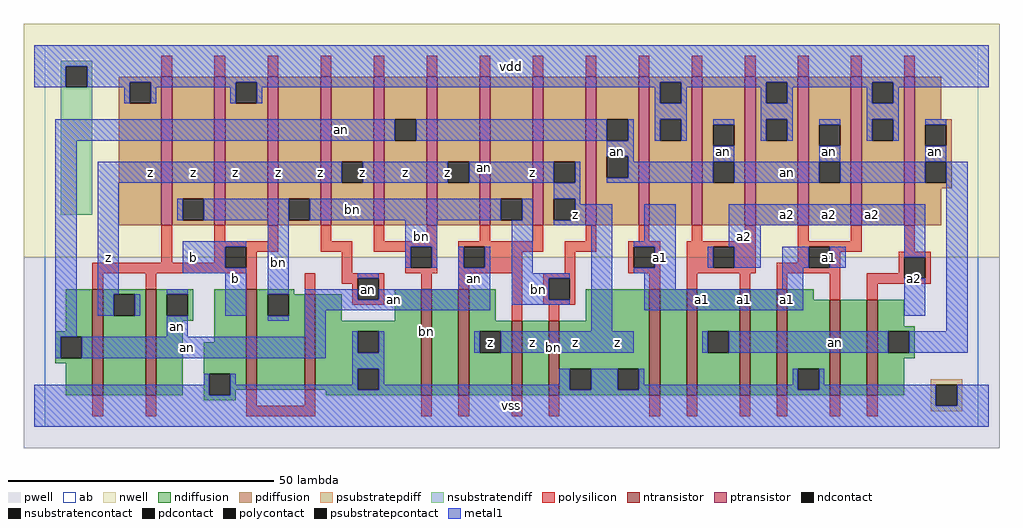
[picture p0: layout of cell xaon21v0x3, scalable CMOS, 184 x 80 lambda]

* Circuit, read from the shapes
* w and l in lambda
.subckt xaon21v0x3 a1 a2 an b bn vdd vss z
M1 z b an vss nfet w=20 l=2 m=2
M2 bn b vss vss nfet w=19 l=2
M3 vss b bn vss nfet w=18 l=2
M4 n1 bn vss vss nfet w=20 l=2
M5 z an n1 vss nfet w=20 l=2
M6 n2 an z vss nfet w=14 l=2
M7 vss bn n2 vss nfet w=14 l=2
M8 n3 a1 vss vss nfet w=20 l=2
M9 an a2 n3 vss nfet w=20 l=2
M10 n4 a2 an vss nfet w=20 l=2
M11 vss a1 n4 vss nfet w=20 l=2
M12 n5 a1 vss vss nfet w=18 l=2
M13 an a2 n5 vss nfet w=18 l=2
M14 bn b vdd vdd pfet w=28 l=2 m=3
M15 z an bn vdd pfet w=28 l=2 m=3
M16 an bn z vdd pfet w=28 l=2 m=3
M17 vdd a1 an vdd pfet w=28 l=2 m=3
M18 an a2 vdd vdd pfet w=28 l=2 m=3
.ends

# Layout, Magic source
magic
tech scmos
<< ab >>
rect 0 0 176 72
<< pwell >>
rect -4 -4 180 32
<< nwell >>
rect -4 32 180 76
<< polysilicon >>
rect 22 66 24 70
rect 32 66 34 70
rect 42 66 44 70
rect 52 66 54 70
rect 62 66 64 70
rect 72 66 74 70
rect 82 66 84 70
rect 92 66 94 70
rect 102 66 104 70
rect 112 66 114 70
rect 122 66 124 70
rect 132 66 134 70
rect 142 66 144 70
rect 152 66 154 70
rect 162 66 164 70
rect 22 31 24 38
rect 32 35 34 38
rect 42 35 44 38
rect 32 34 44 35
rect 32 31 34 34
rect 9 30 34 31
rect 38 33 44 34
rect 52 35 54 38
rect 62 35 64 38
rect 72 35 74 38
rect 82 35 84 38
rect 92 35 94 38
rect 102 35 104 38
rect 112 35 114 38
rect 122 35 124 38
rect 132 35 134 38
rect 52 33 58 35
rect 62 34 74 35
rect 62 33 69 34
rect 38 30 40 33
rect 9 29 40 30
rect 56 29 58 33
rect 68 30 69 33
rect 73 30 74 34
rect 68 29 74 30
rect 78 34 94 35
rect 78 30 79 34
rect 83 33 94 34
rect 98 33 104 35
rect 110 34 116 35
rect 83 30 90 33
rect 78 29 90 30
rect 98 29 100 33
rect 110 30 111 34
rect 115 30 116 34
rect 110 29 116 30
rect 9 26 11 29
rect 19 26 21 29
rect 38 26 40 29
rect 49 25 51 29
rect 56 28 64 29
rect 56 27 59 28
rect 58 24 59 27
rect 63 24 64 28
rect 71 26 73 29
rect 78 26 80 29
rect 58 23 64 24
rect 9 2 11 6
rect 19 2 21 6
rect 38 4 40 7
rect 49 4 51 7
rect 88 20 90 29
rect 94 28 100 29
rect 94 24 95 28
rect 99 24 100 28
rect 114 26 116 29
rect 121 34 134 35
rect 121 30 126 34
rect 130 30 134 34
rect 142 35 144 38
rect 152 35 154 38
rect 142 34 154 35
rect 142 31 144 34
rect 121 29 134 30
rect 138 30 144 31
rect 148 33 154 34
rect 162 33 164 38
rect 148 30 150 33
rect 138 29 150 30
rect 161 32 167 33
rect 161 29 162 32
rect 121 26 123 29
rect 131 26 133 29
rect 138 26 140 29
rect 94 23 100 24
rect 95 20 97 23
rect 148 24 150 29
rect 155 28 162 29
rect 166 28 167 32
rect 155 27 167 28
rect 155 24 157 27
rect 38 2 51 4
rect 71 2 73 6
rect 78 2 80 6
rect 88 2 90 6
rect 95 2 97 6
rect 114 2 116 6
rect 121 2 123 6
rect 131 2 133 6
rect 138 2 140 6
rect 148 2 150 6
rect 155 2 157 6
<< ndiffusion >>
rect 4 18 9 26
rect 2 17 9 18
rect 2 13 3 17
rect 7 13 9 17
rect 2 12 9 13
rect 4 6 9 12
rect 11 25 19 26
rect 11 21 13 25
rect 17 21 19 25
rect 11 6 19 21
rect 21 25 28 26
rect 21 21 23 25
rect 27 21 28 25
rect 21 20 28 21
rect 21 6 26 20
rect 32 16 38 26
rect 30 10 38 16
rect 30 6 31 10
rect 35 7 38 10
rect 40 25 47 26
rect 40 21 42 25
rect 46 21 49 25
rect 40 7 49 21
rect 51 20 56 25
rect 66 20 71 26
rect 51 18 71 20
rect 51 14 59 18
rect 63 14 71 18
rect 51 11 71 14
rect 51 7 59 11
rect 63 7 71 11
rect 35 6 36 7
rect 30 5 36 6
rect 53 6 71 7
rect 73 6 78 26
rect 80 20 85 26
rect 102 20 114 26
rect 80 18 88 20
rect 80 14 82 18
rect 86 14 88 18
rect 80 6 88 14
rect 90 6 95 20
rect 97 11 114 20
rect 97 7 99 11
rect 103 7 108 11
rect 112 7 114 11
rect 97 6 114 7
rect 116 6 121 26
rect 123 18 131 26
rect 123 14 125 18
rect 129 14 131 18
rect 123 6 131 14
rect 133 6 138 26
rect 140 24 145 26
rect 140 11 148 24
rect 140 7 142 11
rect 146 7 148 11
rect 140 6 148 7
rect 150 6 155 24
rect 157 19 162 24
rect 157 18 164 19
rect 157 14 159 18
rect 163 14 164 18
rect 157 13 164 14
rect 157 6 162 13
<< pdiffusion >>
rect 14 65 22 66
rect 14 61 16 65
rect 20 61 22 65
rect 14 38 22 61
rect 24 43 32 66
rect 24 39 26 43
rect 30 39 32 43
rect 24 38 32 39
rect 34 65 42 66
rect 34 61 36 65
rect 40 61 42 65
rect 34 38 42 61
rect 44 43 52 66
rect 44 39 46 43
rect 50 39 52 43
rect 44 38 52 39
rect 54 50 62 66
rect 54 46 56 50
rect 60 46 62 50
rect 54 38 62 46
rect 64 58 72 66
rect 64 54 66 58
rect 70 54 72 58
rect 64 38 72 54
rect 74 50 82 66
rect 74 46 76 50
rect 80 46 82 50
rect 74 38 82 46
rect 84 43 92 66
rect 84 39 86 43
rect 90 39 92 43
rect 84 38 92 39
rect 94 50 102 66
rect 94 46 96 50
rect 100 46 102 50
rect 94 43 102 46
rect 94 39 96 43
rect 100 39 102 43
rect 94 38 102 39
rect 104 58 112 66
rect 104 54 106 58
rect 110 54 112 58
rect 104 51 112 54
rect 104 47 106 51
rect 110 47 112 51
rect 104 38 112 47
rect 114 65 122 66
rect 114 61 116 65
rect 120 61 122 65
rect 114 58 122 61
rect 114 54 116 58
rect 120 54 122 58
rect 114 38 122 54
rect 124 57 132 66
rect 124 53 126 57
rect 130 53 132 57
rect 124 50 132 53
rect 124 46 126 50
rect 130 46 132 50
rect 124 38 132 46
rect 134 65 142 66
rect 134 61 136 65
rect 140 61 142 65
rect 134 58 142 61
rect 134 54 136 58
rect 140 54 142 58
rect 134 38 142 54
rect 144 57 152 66
rect 144 53 146 57
rect 150 53 152 57
rect 144 50 152 53
rect 144 46 146 50
rect 150 46 152 50
rect 144 38 152 46
rect 154 65 162 66
rect 154 61 156 65
rect 160 61 162 65
rect 154 58 162 61
rect 154 54 156 58
rect 160 54 162 58
rect 154 38 162 54
rect 164 58 169 66
rect 164 57 171 58
rect 164 53 166 57
rect 170 53 171 57
rect 164 50 171 53
rect 164 46 166 50
rect 170 46 171 50
rect 164 45 171 46
rect 164 38 169 45
<< metal1 >>
rect -2 68 178 72
rect -2 64 4 68
rect 8 65 178 68
rect 8 64 16 65
rect 15 61 16 64
rect 20 64 36 65
rect 20 61 21 64
rect 35 61 36 64
rect 40 64 116 65
rect 40 61 41 64
rect 115 61 116 64
rect 120 64 136 65
rect 120 61 121 64
rect 115 58 121 61
rect 135 61 136 64
rect 140 64 156 65
rect 140 61 141 64
rect 135 58 141 61
rect 155 61 156 64
rect 160 64 178 65
rect 160 61 161 64
rect 155 58 161 61
rect 2 54 66 58
rect 70 54 106 58
rect 110 54 111 58
rect 115 54 116 58
rect 120 54 121 58
rect 126 57 130 58
rect 2 17 6 54
rect 106 51 111 54
rect 10 46 56 50
rect 60 46 76 50
rect 80 46 96 50
rect 100 46 101 50
rect 110 50 111 51
rect 135 54 136 58
rect 140 54 141 58
rect 146 57 150 58
rect 126 50 130 53
rect 155 54 156 58
rect 160 54 161 58
rect 166 57 170 58
rect 146 50 150 53
rect 166 50 170 53
rect 110 47 126 50
rect 106 46 126 47
rect 130 46 146 50
rect 150 46 166 50
rect 10 25 14 46
rect 96 43 101 46
rect 25 39 26 43
rect 30 39 46 43
rect 50 39 86 43
rect 90 39 92 43
rect 26 34 38 35
rect 26 30 34 34
rect 26 29 38 30
rect 23 25 27 26
rect 10 21 13 25
rect 17 21 18 25
rect 34 21 38 29
rect 42 25 46 39
rect 68 34 74 39
rect 68 30 69 34
rect 73 30 74 34
rect 78 30 79 34
rect 83 30 84 34
rect 59 28 63 29
rect 23 17 27 21
rect 42 20 46 21
rect 49 24 59 26
rect 78 26 84 30
rect 63 24 84 26
rect 49 22 84 24
rect 88 29 92 39
rect 100 42 101 43
rect 100 39 107 42
rect 96 38 107 39
rect 88 28 99 29
rect 88 24 95 28
rect 88 23 99 24
rect 49 17 53 22
rect 103 18 107 38
rect 113 35 119 42
rect 111 34 119 35
rect 129 38 166 42
rect 129 34 135 38
rect 115 30 119 34
rect 125 30 126 34
rect 130 30 135 34
rect 139 30 144 34
rect 148 30 151 34
rect 162 32 166 38
rect 111 29 119 30
rect 113 26 119 29
rect 139 26 143 30
rect 113 22 143 26
rect 162 21 166 28
rect 170 18 174 50
rect 2 13 3 17
rect 7 13 53 17
rect 58 14 59 18
rect 63 14 64 18
rect 81 14 82 18
rect 86 14 111 18
rect 124 14 125 18
rect 129 14 159 18
rect 163 14 174 18
rect 58 11 64 14
rect 30 8 31 10
rect -2 6 31 8
rect 35 8 36 10
rect 58 8 59 11
rect 35 7 59 8
rect 63 8 64 11
rect 97 8 99 11
rect 63 7 99 8
rect 103 7 108 11
rect 112 8 113 11
rect 141 8 142 11
rect 112 7 142 8
rect 146 8 147 11
rect 146 7 168 8
rect 35 6 168 7
rect -2 4 168 6
rect 172 4 178 8
rect -2 0 178 4
<< ntransistor >>
rect 9 6 11 26
rect 19 6 21 26
rect 38 7 40 26
rect 49 7 51 25
rect 71 6 73 26
rect 78 6 80 26
rect 88 6 90 20
rect 95 6 97 20
rect 114 6 116 26
rect 121 6 123 26
rect 131 6 133 26
rect 138 6 140 26
rect 148 6 150 24
rect 155 6 157 24
<< ptransistor >>
rect 22 38 24 66
rect 32 38 34 66
rect 42 38 44 66
rect 52 38 54 66
rect 62 38 64 66
rect 72 38 74 66
rect 82 38 84 66
rect 92 38 94 66
rect 102 38 104 66
rect 112 38 114 66
rect 122 38 124 66
rect 132 38 134 66
rect 142 38 144 66
rect 152 38 154 66
rect 162 38 164 66
<< polycontact >>
rect 34 30 38 34
rect 69 30 73 34
rect 79 30 83 34
rect 111 30 115 34
rect 59 24 63 28
rect 95 24 99 28
rect 126 30 130 34
rect 144 30 148 34
rect 162 28 166 32
<< ndcontact >>
rect 3 13 7 17
rect 13 21 17 25
rect 23 21 27 25
rect 31 6 35 10
rect 42 21 46 25
rect 59 14 63 18
rect 59 7 63 11
rect 82 14 86 18
rect 99 7 103 11
rect 108 7 112 11
rect 125 14 129 18
rect 142 7 146 11
rect 159 14 163 18
<< pdcontact >>
rect 16 61 20 65
rect 26 39 30 43
rect 36 61 40 65
rect 46 39 50 43
rect 56 46 60 50
rect 66 54 70 58
rect 76 46 80 50
rect 86 39 90 43
rect 96 46 100 50
rect 96 39 100 43
rect 106 54 110 58
rect 106 47 110 51
rect 116 61 120 65
rect 116 54 120 58
rect 126 53 130 57
rect 126 46 130 50
rect 136 61 140 65
rect 136 54 140 58
rect 146 53 150 57
rect 146 46 150 50
rect 156 61 160 65
rect 156 54 160 58
rect 166 53 170 57
rect 166 46 170 50
<< psubstratepcontact >>
rect 168 4 172 8
<< nsubstratencontact >>
rect 4 64 8 68
<< psubstratepdiff >>
rect 167 8 173 9
rect 167 4 168 8
rect 172 4 173 8
rect 167 3 173 4
<< nsubstratendiff >>
rect 3 68 9 69
rect 3 64 4 68
rect 8 64 9 68
rect 3 40 9 64
<< labels >>
rlabel ntransistor 72 18 72 18 6 bn
rlabel polycontact 61 26 61 26 6 an
rlabel ptransistor 83 49 83 49 6 an
rlabel ntransistor 96 15 96 15 6 bn
rlabel metal1 25 19 25 19 6 an
rlabel metal1 12 32 12 32 6 z
rlabel metal1 28 32 28 32 6 b
rlabel metal1 20 48 20 48 6 z
rlabel metal1 28 48 28 48 6 z
rlabel metal1 27 15 27 15 6 an
rlabel metal1 36 28 36 28 6 b
rlabel metal1 44 31 44 31 6 bn
rlabel metal1 36 48 36 48 6 z
rlabel metal1 44 48 44 48 6 z
rlabel metal1 52 48 52 48 6 z
rlabel metal1 60 48 60 48 6 z
rlabel metal1 88 4 88 4 6 vss
rlabel metal1 100 16 100 16 6 z
rlabel ndcontact 84 16 84 16 6 z
rlabel metal1 92 16 92 16 6 z
rlabel metal1 66 24 66 24 6 an
rlabel metal1 81 28 81 28 6 an
rlabel metal1 93 26 93 26 6 bn
rlabel metal1 100 40 100 40 6 z
rlabel metal1 58 41 58 41 6 bn
rlabel metal1 71 36 71 36 6 bn
rlabel metal1 68 48 68 48 6 z
rlabel metal1 76 48 76 48 6 z
rlabel metal1 84 48 84 48 6 z
rlabel metal1 92 48 92 48 6 z
rlabel metal1 88 68 88 68 6 vdd
rlabel metal1 108 16 108 16 6 z
rlabel metal1 124 24 124 24 6 a1
rlabel metal1 132 24 132 24 6 a1
rlabel metal1 140 24 140 24 6 a1
rlabel metal1 116 32 116 32 6 a1
rlabel metal1 140 40 140 40 6 a2
rlabel metal1 132 36 132 36 6 a2
rlabel metal1 128 52 128 52 6 an
rlabel metal1 108 52 108 52 6 an
rlabel metal1 56 56 56 56 6 an
rlabel metal1 149 16 149 16 6 an
rlabel metal1 148 32 148 32 6 a1
rlabel metal1 164 28 164 28 6 a2
rlabel metal1 148 40 148 40 6 a2
rlabel metal1 156 40 156 40 6 a2
rlabel metal1 140 48 140 48 6 an
rlabel metal1 148 52 148 52 6 an
rlabel metal1 168 52 168 52 6 an
<< end >>
